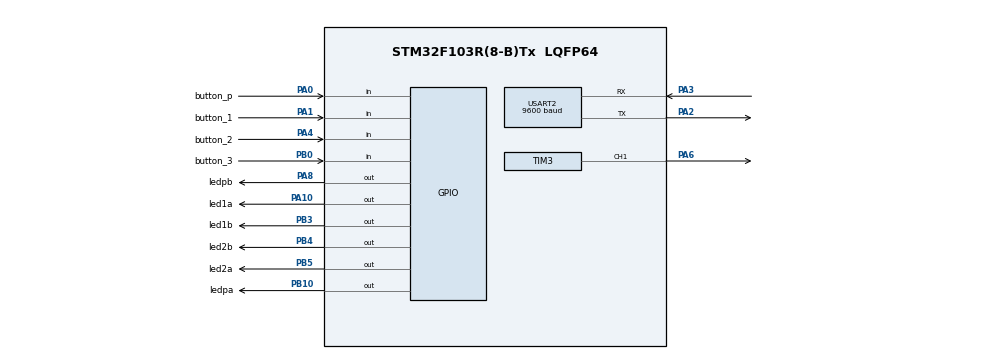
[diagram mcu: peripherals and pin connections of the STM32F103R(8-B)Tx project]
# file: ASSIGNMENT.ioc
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Mcu.Family=STM32F1
Mcu.Name=STM32F103R(8-B)Tx
Mcu.Package=LQFP64
NVIC.PriorityGroup=NVIC_PRIORITYGROUP_4
NVIC.TIM2_IRQn=true\:0\:0\:false\:false\:true\:true\:true
PA0-WKUP.GPIO_Label=button_p
PA0-WKUP.GPIO_PuPd=GPIO_PULLUP
PA0-WKUP.Signal=GPIO_Input
PA1.GPIO_Label=button_1
PA1.GPIO_PuPd=GPIO_PULLUP
PA1.Signal=GPIO_Input
PA10.GPIO_Label=led1a
PA10.GPIO_PuPd=GPIO_PULLUP
PA10.Signal=GPIO_Output
PA13.Mode=Serial_Wire
PA13.Signal=SYS_JTMS-SWDIO
PA14.Mode=Serial_Wire
PA14.Signal=SYS_JTCK-SWCLK
PA2.Mode=Asynchronous
PA2.Signal=USART2_TX
PA3.Mode=Asynchronous
PA3.Signal=USART2_RX
PA4.GPIO_Label=button_2
PA4.Signal=GPIO_Input
PA6.Signal=S_TIM3_CH1
PA8.GPIO_Label=ledpb
PA8.Signal=GPIO_Output
PB0.GPIO_Label=button_3
PB0.GPIO_PuPd=GPIO_PULLUP
PB0.Signal=GPIO_Input
PB10.GPIO_Label=ledpa
PB10.Signal=GPIO_Output
PB3.GPIO_Label=led1b
PB3.GPIO_PuPd=GPIO_PULLUP
PB3.Signal=GPIO_Output
PB4.GPIO_Label=led2b
PB4.Signal=GPIO_Output
PB5.GPIO_Label=led2a
PB5.Signal=GPIO_Output
ProjectManager.HeapSize=0x200
ProjectManager.StackSize=0x400
ProjectManager.TargetToolchain=STM32CubeIDE
RCC.APB1Freq_Value=8000000
RCC.APB2Freq_Value=8000000
SH.S_TIM3_CH1.0=TIM3_CH1,PWM Generation1 CH1
TIM2.Period=9
TIM2.Prescaler=7999
TIM3.Channel-PWM\ Generation1\ CH1=TIM_CHANNEL_1
USART2.BaudRate=9600
USART2.VirtualMode=VM_ASYNC
VP_TIM2_VS_ClockSourceINT.Mode=Internal
VP_TIM3_VS_ClockSourceINT.Mode=Internal
board=custom

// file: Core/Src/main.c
/* USER CODE BEGIN Header */
/**
  ******************************************************************************
  * @file           : main.c
  * @brief          : Main program body
  ******************************************************************************
  * @attention
  *
  * <h2><center>&copy; Copyright (c) 2022 STMicroelectronics.
  * All rights reserved.</center></h2>
  *
  * This software component is licensed by ST under BSD 3-Clause license,
  * the "License"; You may not use this file except in compliance with the
  * License. You may obtain a copy of the License at:
  *                        opensource.org/licenses/BSD-3-Clause
  *
  ******************************************************************************
  */
/* USER CODE END Header */
#include "main.h"

/* USER CODE BEGIN Includes */
#include "scheduler.h"
#include "global.h"
//#include "input_processing.h"
#include "input_reading.h"
//#include "updateClockBuffer.h"
//#include "Update7Seg.h"
#include "timer.h"
#include "fsm.h"
#include <stdio.h>

const int MAX_LED = 4;
int index_led = 0;
int led_buffer [4];
int second,second1;

int status1 = Waiting;
int status2 = Waiting;
int status4 = Waiting;
int status3 = INIT;
int RED_TIME=1000;
int timer=0;
int GREEN_TIME=700;
int timer2=0;
int YELLOW_TIME=300;
int timer3=0;
int TIME_OUT=1000;
/* USER CODE END Includes */

TIM_HandleTypeDef htim2;
TIM_HandleTypeDef htim3;

UART_HandleTypeDef huart2;

/* USER CODE BEGIN PV */
void Print_HELLO()
{
	char str[30];
	HAL_UART_Transmit(&huart2, (void*)str, sprintf(str, "HELLO\r"), 1000);
}
//void Toggle_led()
//{
//	HAL_GPIO_TogglePin(GPIOA, Led_1_Pin);
//}
void Print_TimeOut(int abc){
	char str[30];
	int temp;
	temp=abc;
	HAL_UART_Transmit(&huart2, (void*)str, sprintf(str, "timeout: %d\r", temp), 1000);
}
void Print_TimeP(int abc){
	char str[30];
	int temp;
	temp=abc;
	HAL_UART_Transmit(&huart2, (void*)str, sprintf(str, "time_P: %d\r", temp), 1000);
}
void Print_Mode(int abc){
	char str[30];
	int temp;
	temp=abc;
	HAL_UART_Transmit(&huart2, (void*)str, sprintf(str, "Mode: %d\r", temp), 1000);
}
void Print_Time(int abc){
	char str[30];
	int temp;
	temp=abc;
	HAL_UART_Transmit(&huart2, (void*)str, sprintf(str, "time: %d\r", temp), 1000);
}
void Print_Time1(int abc){
	char str[30];
	int temp;
	temp=abc;
	HAL_UART_Transmit(&huart2, (void*)str, sprintf(str, "time_1: %d\r", temp), 1000);
}
void Print_Time2(int abc){
	char str[30];
	int temp;
	temp=abc;
	HAL_UART_Transmit(&huart2, (void*)str, sprintf(str, "time_2: %d\r", temp), 1000);
}

void Print_ERROR(){
	char str[30];
//	int temp;
//	temp=abc;
	if(RED_TIME!=GREEN_TIME+YELLOW_TIME){
		HAL_UART_Transmit(&huart2, (void*)str, sprintf(str, "ERROR 1 reset TIME\r"), 1000);
		RED_TIME = GREEN_TIME + YELLOW_TIME;
	}
}
//void Print_Time()
//{
//	char str[30];
//	int temp;
//	temp=timer;
//	HAL_UART_Transmit(&huart2, (void*)str, sprintf(str, "time1: %d\r", temp), 1000);
//	temp = timer2;
//	HAL_UART_Transmit(&huart2, (void*)str, sprintf(str, "time2: %d\r", temp), 1000);
//	HAL_UART_Transmit(&huart2, (void*)str, sprintf(str, "-----\r"), 1000);
//	HAL_UART_Transmit(&huart2, (void*)str, sprintf("%c%c%c%c",0x1B,0x5B,0x32,0x4A), 1000);

//}
/* USER CODE END PV */

void SystemClock_Config(void);
static void MX_GPIO_Init(void);
static void MX_TIM2_Init(void);
static void MX_USART2_UART_Init(void);
static void MX_TIM3_Init(void);

int main(void)
{

  /* MCU Configuration--------------------------------------------------------*/

  /* Reset of all peripherals, Initializes the Flash interface and the Systick. */
  HAL_Init();

  /* Configure the system clock */
  SystemClock_Config();

  /* USER CODE BEGIN SysInit */
  MX_GPIO_Init ();
  /* USER CODE END SysInit */

  /* Initialize all configured peripherals */
  MX_GPIO_Init();
  MX_TIM2_Init();
  MX_USART2_UART_Init();
  MX_TIM3_Init();
  /* USER CODE BEGIN 2 */
//  HAL_TIM_PWM_Start(&htim3, TIM_CHANNEL_1);
  HAL_TIM_Base_Start_IT (& htim2 ) ;
  /* USER CODE END 2 */

  /* Infinite loop */
  /* USER CODE BEGIN WHILE */
//  HAL_GPIO_WritePin(GPIOB, ledpa_Pin|led1b_Pin|led2b_Pin|led2a_Pin, GPIO_PIN_RESET);
//  HAL_GPIO_WritePin(GPIOA, ledpb_Pin|led1a_Pin, GPIO_PIN_RESET);\char str[30];

//  Print_HELLO();
  SCH_Init();
//  Print_HELLO();
//  SCH_Add_Task(Toggle_led, 10, 500);
//  SCH_Add_Task(Print_HELLO, 10, 1000);
//  setTimer0(100);
//  setTimer1(2);
//  setTimer2(3);
//  setTimer3(100);
//  setTimerOut1(1);
//  setTimerOut1(2);

  HAL_GPIO_WritePin(GPIOB, ledpa_Pin|led1b_Pin|led2b_Pin|led2a_Pin, GPIO_PIN_SET);

  HAL_GPIO_WritePin(GPIOA, ledpb_Pin|led1a_Pin, GPIO_PIN_SET);

//  SCH_Add_Task(timerRun0, 20, 10);
//  SCH_Add_Task(timerRun1, 20, 10);
//  SCH_Add_Task(timerRun2, 20, 10);
//  SCH_Add_Task(timerRun3, 20, 10);
//
//  SCH_Add_Task(timerOut1, 20, 10);
//  SCH_Add_Task(timerOut2, 20, 10);

//  SCH_Add_Task(Print_Time, 10, 990);

//  SCH_Add_Task(button_reading, 10, 10);
//
//  SCH_Add_Task(fsm_automatic_run1, 20, 10);
//  SCH_Add_Task(fsm_automatic_run2, 20, 10);
//  SCH_Add_Task(fsm_automatic_run3, 20, 10);
//  SCH_Add_Task(fsm_p, 20, 10);

//  SCH_Add_Task(timerRun0, 0, 10);
//  SCH_Add_Task(timerRun0, 0, 10);
  while (1)
  {
//		 fsm_automatic_run1();
//		 fsm_automatic_run2();
//		 fsm_automatic_run3();
//	  SCH_Dispatch_Tasks();

    /* USER CODE END WHILE */

  }
}

void SystemClock_Config(void)
{
  RCC_OscInitTypeDef RCC_OscInitStruct = {0};
  RCC_ClkInitTypeDef RCC_ClkInitStruct = {0};

  /** Initializes the RCC Oscillators according to the specified parameters
  * in the RCC_OscInitTypeDef structure.
  */
  RCC_OscInitStruct.OscillatorType = RCC_OSCILLATORTYPE_HSI;
  RCC_OscInitStruct.HSIState = RCC_HSI_ON;
  RCC_OscInitStruct.HSICalibrationValue = RCC_HSICALIBRATION_DEFAULT;
  RCC_OscInitStruct.PLL.PLLState = RCC_PLL_NONE;
  if (HAL_RCC_OscConfig(&RCC_OscInitStruct) != HAL_OK)
  {
    Error_Handler();
  }
  /** Initializes the CPU, AHB and APB buses clocks
  */
  RCC_ClkInitStruct.ClockType = RCC_CLOCKTYPE_HCLK|RCC_CLOCKTYPE_SYSCLK
                              |RCC_CLOCKTYPE_PCLK1|RCC_CLOCKTYPE_PCLK2;
  RCC_ClkInitStruct.SYSCLKSource = RCC_SYSCLKSOURCE_HSI;
  RCC_ClkInitStruct.AHBCLKDivider = RCC_SYSCLK_DIV1;
  RCC_ClkInitStruct.APB1CLKDivider = RCC_HCLK_DIV1;
  RCC_ClkInitStruct.APB2CLKDivider = RCC_HCLK_DIV1;

  if (HAL_RCC_ClockConfig(&RCC_ClkInitStruct, FLASH_LATENCY_0) != HAL_OK)
  {
    Error_Handler();
  }
}

static void MX_TIM2_Init(void)
{

  TIM_ClockConfigTypeDef sClockSourceConfig = {0};
  TIM_MasterConfigTypeDef sMasterConfig = {0};

  htim2.Instance = TIM2;
  htim2.Init.Prescaler = 7999;
  htim2.Init.CounterMode = TIM_COUNTERMODE_UP;
  htim2.Init.Period = 9;
  htim2.Init.ClockDivision = TIM_CLOCKDIVISION_DIV1;
  htim2.Init.AutoReloadPreload = TIM_AUTORELOAD_PRELOAD_DISABLE;
  if (HAL_TIM_Base_Init(&htim2) != HAL_OK)
  {
    Error_Handler();
  }
  sClockSourceConfig.ClockSource = TIM_CLOCKSOURCE_INTERNAL;
  if (HAL_TIM_ConfigClockSource(&htim2, &sClockSourceConfig) != HAL_OK)
  {
    Error_Handler();
  }
  sMasterConfig.MasterOutputTrigger = TIM_TRGO_RESET;
  sMasterConfig.MasterSlaveMode = TIM_MASTERSLAVEMODE_DISABLE;
  if (HAL_TIMEx_MasterConfigSynchronization(&htim2, &sMasterConfig) != HAL_OK)
  {
    Error_Handler();
  }

}

static void MX_TIM3_Init(void)
{

  TIM_ClockConfigTypeDef sClockSourceConfig = {0};
  TIM_MasterConfigTypeDef sMasterConfig = {0};
  TIM_OC_InitTypeDef sConfigOC = {0};

  htim3.Instance = TIM3;
  htim3.Init.Prescaler = 0;
  htim3.Init.CounterMode = TIM_COUNTERMODE_UP;
  htim3.Init.Period = 65535;
  htim3.Init.ClockDivision = TIM_CLOCKDIVISION_DIV1;
  htim3.Init.AutoReloadPreload = TIM_AUTORELOAD_PRELOAD_DISABLE;
  if (HAL_TIM_Base_Init(&htim3) != HAL_OK)
  {
    Error_Handler();
  }
  sClockSourceConfig.ClockSource = TIM_CLOCKSOURCE_INTERNAL;
  if (HAL_TIM_ConfigClockSource(&htim3, &sClockSourceConfig) != HAL_OK)
  {
    Error_Handler();
  }
  if (HAL_TIM_PWM_Init(&htim3) != HAL_OK)
  {
    Error_Handler();
  }
  sMasterConfig.MasterOutputTrigger = TIM_TRGO_RESET;
  sMasterConfig.MasterSlaveMode = TIM_MASTERSLAVEMODE_DISABLE;
  if (HAL_TIMEx_MasterConfigSynchronization(&htim3, &sMasterConfig) != HAL_OK)
  {
    Error_Handler();
  }
  sConfigOC.OCMode = TIM_OCMODE_PWM1;
  sConfigOC.Pulse = 0;
  sConfigOC.OCPolarity = TIM_OCPOLARITY_HIGH;
  sConfigOC.OCFastMode = TIM_OCFAST_DISABLE;
  if (HAL_TIM_PWM_ConfigChannel(&htim3, &sConfigOC, TIM_CHANNEL_1) != HAL_OK)
  {
    Error_Handler();
  }
  HAL_TIM_MspPostInit(&htim3);

}

static void MX_USART2_UART_Init(void)
{

  huart2.Instance = USART2;
  huart2.Init.BaudRate = 9600;
  huart2.Init.WordLength = UART_WORDLENGTH_8B;
  huart2.Init.StopBits = UART_STOPBITS_1;
  huart2.Init.Parity = UART_PARITY_NONE;
  huart2.Init.Mode = UART_MODE_TX_RX;
  huart2.Init.HwFlowCtl = UART_HWCONTROL_NONE;
  huart2.Init.OverSampling = UART_OVERSAMPLING_16;
  if (HAL_UART_Init(&huart2) != HAL_OK)
  {
    Error_Handler();
  }

}

static void MX_GPIO_Init(void)
{
  GPIO_InitTypeDef GPIO_InitStruct = {0};

  /* GPIO Ports Clock Enable */
  __HAL_RCC_GPIOA_CLK_ENABLE();
  __HAL_RCC_GPIOB_CLK_ENABLE();

  /*Configure GPIO pin Output Level */
  HAL_GPIO_WritePin(GPIOB, ledpa_Pin|led1b_Pin|led2b_Pin|led2a_Pin, GPIO_PIN_RESET);

  /*Configure GPIO pin Output Level */
  HAL_GPIO_WritePin(GPIOA, ledpb_Pin|led1a_Pin, GPIO_PIN_RESET);

  /*Configure GPIO pins : button_p_Pin button_1_Pin */
  GPIO_InitStruct.Pin = button_p_Pin|button_1_Pin;
  GPIO_InitStruct.Mode = GPIO_MODE_INPUT;
  GPIO_InitStruct.Pull = GPIO_PULLUP;
  HAL_GPIO_Init(GPIOA, &GPIO_InitStruct);

  /*Configure GPIO pin : button_2_Pin */
  GPIO_InitStruct.Pin = button_2_Pin;
  GPIO_InitStruct.Mode = GPIO_MODE_INPUT;
  GPIO_InitStruct.Pull = GPIO_NOPULL;
  HAL_GPIO_Init(button_2_GPIO_Port, &GPIO_InitStruct);

  /*Configure GPIO pin : button_3_Pin */
  GPIO_InitStruct.Pin = button_3_Pin;
  GPIO_InitStruct.Mode = GPIO_MODE_INPUT;
  GPIO_InitStruct.Pull = GPIO_PULLUP;
  HAL_GPIO_Init(button_3_GPIO_Port, &GPIO_InitStruct);

  /*Configure GPIO pins : ledpa_Pin led2b_Pin led2a_Pin */
  GPIO_InitStruct.Pin = ledpa_Pin|led2b_Pin|led2a_Pin;
  GPIO_InitStruct.Mode = GPIO_MODE_OUTPUT_PP;
  GPIO_InitStruct.Pull = GPIO_NOPULL;
  GPIO_InitStruct.Speed = GPIO_SPEED_FREQ_LOW;
  HAL_GPIO_Init(GPIOB, &GPIO_InitStruct);

  /*Configure GPIO pin : ledpb_Pin */
  GPIO_InitStruct.Pin = ledpb_Pin;
  GPIO_InitStruct.Mode = GPIO_MODE_OUTPUT_PP;
  GPIO_InitStruct.Pull = GPIO_NOPULL;
  GPIO_InitStruct.Speed = GPIO_SPEED_FREQ_LOW;
  HAL_GPIO_Init(ledpb_GPIO_Port, &GPIO_InitStruct);

  /*Configure GPIO pin : led1a_Pin */
  GPIO_InitStruct.Pin = led1a_Pin;
  GPIO_InitStruct.Mode = GPIO_MODE_OUTPUT_PP;
  GPIO_InitStruct.Pull = GPIO_PULLUP;
  GPIO_InitStruct.Speed = GPIO_SPEED_FREQ_LOW;
  HAL_GPIO_Init(led1a_GPIO_Port, &GPIO_InitStruct);

  /*Configure GPIO pin : led1b_Pin */
  GPIO_InitStruct.Pin = led1b_Pin;
  GPIO_InitStruct.Mode = GPIO_MODE_OUTPUT_PP;
  GPIO_InitStruct.Pull = GPIO_PULLUP;
  GPIO_InitStruct.Speed = GPIO_SPEED_FREQ_LOW;
  HAL_GPIO_Init(led1b_GPIO_Port, &GPIO_InitStruct);

}

/* USER CODE BEGIN 4 */
void HAL_TIM_PeriodElapsedCallback ( TIM_HandleTypeDef * htim ){
	if( htim -> Instance == TIM2 ){
//		SCH_Update();
//		button_reading () ;
		}
}
/* USER CODE END 4 */

void Error_Handler(void)
{
  __disable_irq();
  while (1)
  {
  }
}

/************************ (C) COPYRIGHT STMicroelectronics *****END OF FILE****/
